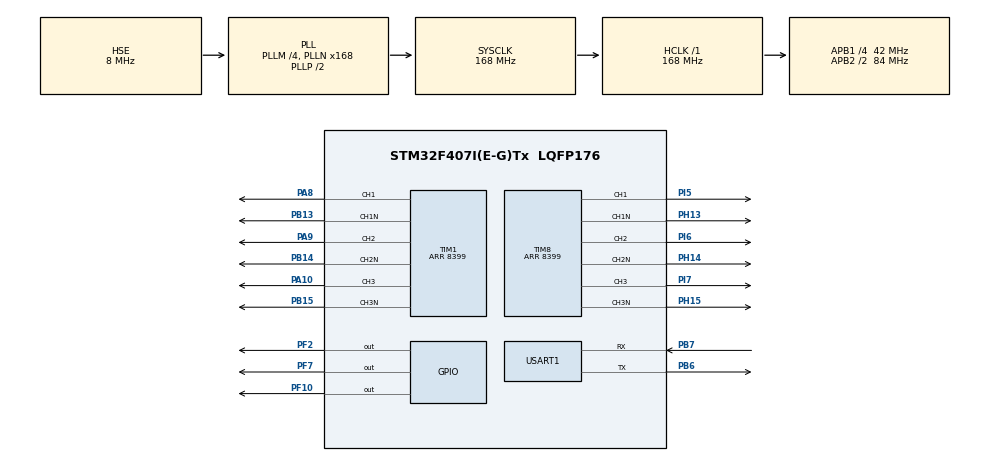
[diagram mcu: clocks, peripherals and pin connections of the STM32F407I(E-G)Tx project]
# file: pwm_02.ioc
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Mcu.Family=STM32F4
Mcu.Name=STM32F407I(E-G)Tx
Mcu.Package=LQFP176
NVIC.PriorityGroup=NVIC_PRIORITYGROUP_4
NVIC.TIM2_IRQn=true\:2\:0\:true\:false\:true\:true\:true\:true
PA10.Signal=S_TIM1_CH3
PA13.Mode=Serial_Wire
PA13.Signal=SYS_JTMS-SWDIO
PA14.Mode=Serial_Wire
PA14.Signal=SYS_JTCK-SWCLK
PA8.Signal=S_TIM1_CH1
PA9.Signal=S_TIM1_CH2
PB13.Mode=PWM Generation1 CH1 CH1N
PB13.Signal=TIM1_CH1N
PB14.Mode=PWM Generation2 CH2 CH2N
PB14.Signal=TIM1_CH2N
PB15.Mode=PWM Generation3 CH3 CH3N
PB15.Signal=TIM1_CH3N
PB6.Mode=Asynchronous
PB6.Signal=USART1_TX
PB7.Mode=Asynchronous
PB7.Signal=USART1_RX
PF10.Signal=GPIO_Output
PF2.Signal=GPIO_Output
PF7.Signal=GPIO_Output
PH0-OSC_IN.Mode=HSE-External-Oscillator
PH0-OSC_IN.Signal=RCC_OSC_IN
PH1-OSC_OUT.Mode=HSE-External-Oscillator
PH1-OSC_OUT.Signal=RCC_OSC_OUT
PH13.Mode=PWM Generation1 CH1 CH1N
PH13.Signal=TIM8_CH1N
PH14.Mode=PWM Generation2 CH2 CH2N
PH14.Signal=TIM8_CH2N
PH15.Mode=PWM Generation3 CH3 CH3N
PH15.Signal=TIM8_CH3N
PI5.Signal=S_TIM8_CH1
PI6.Signal=S_TIM8_CH2
PI7.Signal=S_TIM8_CH3
ProjectManager.HeapSize=0x200
ProjectManager.StackSize=0x400
ProjectManager.TargetToolchain=MDK-ARM V5.32
RCC.48MHZClocksFreq_Value=84000000
RCC.AHBFreq_Value=168000000
RCC.APB1CLKDivider=RCC_HCLK_DIV4
RCC.APB1Freq_Value=42000000
RCC.APB1TimFreq_Value=84000000
RCC.APB2CLKDivider=RCC_HCLK_DIV2
RCC.APB2Freq_Value=84000000
RCC.APB2TimFreq_Value=168000000
RCC.CortexFreq_Value=168000000
RCC.HCLKFreq_Value=168000000
RCC.HSE_VALUE=8000000
RCC.HSI_VALUE=16000000
RCC.LSE_VALUE=32768
RCC.PLLM=4
RCC.PLLN=168
RCC.PLLSourceVirtual=RCC_PLLSOURCE_HSE
RCC.SYSCLKFreq_VALUE=168000000
RCC.SYSCLKSource=RCC_SYSCLKSOURCE_PLLCLK
RCC.VCOOutputFreq_Value=336000000
SH.S_TIM1_CH1.0=TIM1_CH1,PWM Generation1 CH1 CH1N
SH.S_TIM1_CH2.0=TIM1_CH2,PWM Generation2 CH2 CH2N
SH.S_TIM1_CH3.0=TIM1_CH3,PWM Generation3 CH3 CH3N
SH.S_TIM8_CH1.0=TIM8_CH1,PWM Generation1 CH1 CH1N
SH.S_TIM8_CH2.0=TIM8_CH2,PWM Generation2 CH2 CH2N
SH.S_TIM8_CH3.0=TIM8_CH3,PWM Generation3 CH3 CH3N
TIM1.Channel-PWM\ Generation1\ CH1\ CH1N=TIM_CHANNEL_1
TIM1.Channel-PWM\ Generation2\ CH2\ CH2N=TIM_CHANNEL_2
TIM1.Channel-PWM\ Generation3\ CH3\ CH3N=TIM_CHANNEL_3
TIM1.CounterMode=TIM_COUNTERMODE_CENTERALIGNED1
TIM1.DeadTime=25
TIM1.OCMode_PWM-PWM\ Generation1\ CH1\ CH1N=TIM_OCMODE_PWM2
TIM1.OCMode_PWM-PWM\ Generation2\ CH2\ CH2N=TIM_OCMODE_PWM2
TIM1.OCMode_PWM-PWM\ Generation3\ CH3\ CH3N=TIM_OCMODE_PWM2
TIM1.Period=8399
TIM1.Pulse-PWM\ Generation1\ CH1\ CH1N=4200
TIM1.Pulse-PWM\ Generation2\ CH2\ CH2N=4200
TIM1.Pulse-PWM\ Generation3\ CH3\ CH3N=4200
TIM2.ClockDivision=TIM_CLOCKDIVISION_DIV1
TIM2.Period=83990
TIM8.Channel-PWM\ Generation1\ CH1\ CH1N=TIM_CHANNEL_1
TIM8.Channel-PWM\ Generation2\ CH2\ CH2N=TIM_CHANNEL_2
TIM8.Channel-PWM\ Generation3\ CH3\ CH3N=TIM_CHANNEL_3
TIM8.CounterMode=TIM_COUNTERMODE_CENTERALIGNED1
TIM8.DeadTime=25
TIM8.OCMode_PWM-PWM\ Generation1\ CH1\ CH1N=TIM_OCMODE_PWM2
TIM8.OCMode_PWM-PWM\ Generation2\ CH2\ CH2N=TIM_OCMODE_PWM2
TIM8.OCMode_PWM-PWM\ Generation3\ CH3\ CH3N=TIM_OCMODE_PWM2
TIM8.Period=8399
TIM8.Pulse-PWM\ Generation1\ CH1\ CH1N=4200
TIM8.Pulse-PWM\ Generation2\ CH2\ CH2N=4200
TIM8.Pulse-PWM\ Generation3\ CH3\ CH3N=4200
USART1.VirtualMode=VM_ASYNC
VP_TIM1_VS_ClockSourceINT.Mode=Internal
VP_TIM2_VS_ClockSourceINT.Mode=Internal
VP_TIM8_VS_ClockSourceINT.Mode=Internal
board=custom

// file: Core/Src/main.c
/* USER CODE BEGIN Header */
/**
  ******************************************************************************
  * @file           : main.c
  * @brief          : Main program body
  ******************************************************************************
  * @attention
  *
  * Copyright (c) 2023 STMicroelectronics.
  * All rights reserved.
  *
  * This software is licensed under terms that can be found in the LICENSE file
  * in the root directory of this software component.
  * If no LICENSE file comes with this software, it is provided AS-IS.
  *
  ******************************************************************************
  */
/* USER CODE END Header */
#include "main.h"
#include "tim.h"
#include "usart.h"
#include "gpio.h"

/* USER CODE BEGIN Includes */
#include "string.h"
#include "../SYSTEM/delay/delay.h"
#include "../BSP/EXTI/exti.h"
#include "../BSP/LED/led.h"
/* USER CODE END Includes */

/* USER CODE BEGIN PM */
  int fre = 0 ;
  int a0_amp =0;
  int a1_amp =0;
  int a2_amp =0;
/* USER CODE END PM */

/* USER CODE BEGIN PV */
  uint16_t spwmcnt=0;
  uint16_t spwmcnt2=133;
  uint16_t spwmcnt3=267;
  int spwm_group[400]={
    33,99,165,231,297,362,428,494,559,624,690,755,819,884,948,1013,1076,
    1140,1203,1266,1329,1392,1454,1515,1577,1638,1698,1758,1818,1877,1936,1994,2052,
    2110,2166,2223,2278,2333,2388,2442,2495,2548,2600,2652,2703,2753,2802,2851,2899,
    2946,2993,3039,3084,3129,3172,3215,3257,3298,3339,3378,3417,3455,3492,3528,3564,
    3598,3632,3664,3696,3727,3757,3786,3814,3841,3868,3893,3917,3940,3963,3984,4005,
    4024,4042,4060,4076,4092,4106,4119,4132,4143,4153,4163,4171,4178,4184,4190,4194,
    4197,4199,4200,4200,4199,4197,4194,4190,4184,4178,4171,4163,4153,4143,4132,4119,
    4106,4092,4076,4060,4042,4024,4005,3984,3963,3940,3917,3893,3868,3841,3814,3786,
    3757,3727,3696,3664,3632,3598,3564,3528,3492,3455,3417,3378,3339,3298,3257,3215,
    3172,3129,3084,3039,2993,2946,2899,2851,2802,2753,2703,2652,2600,2548,2495,2442,
    2388,2333,2278,2223,2166,2110,2052,1994,1936,1877,1818,1758,1698,1638,1577,1515,
    1454,1392,1329,1266,1203,1140,1076,1013,948,884,819,755,690,624,559,494,
    428,362,297,231,165,99,33,-33,-99,-165,-231,-297,-362,-428,-494,-559,
    -624,-690,-755,-819,-884,-948,-1013,-1076,-1140,-1203,-1266,-1329,-1392,-1454,-1515,-1577,
    -1638,-1698,-1758,-1818,-1877,-1936,-1994,-2052,-2110,-2166,-2223,-2278,-2333,-2388,-2442,-2495,
    -2548,-2600,-2652,-2703,-2753,-2802,-2851,-2899,-2946,-2993,-3039,-3084,-3129,-3172,-3215,-3257,
    -3298,-3339,-3378,-3417,-3455,-3492,-3528,-3564,-3598,-3632,-3664,-3696,-3727,-3757,-3786,-3814,
    -3841,-3868,-3893,-3917,-3940,-3963,-3984,-4005,-4024,-4042,-4060,-4076,-4092,-4106,-4119,-4132,
    -4143,-4153,-4163,-4171,-4178,-4184,-4190,-4194,-4197,-4199,-4200,-4200,-4199,-4197,-4194,-4190,
    -4184,-4178,-4171,-4163,-4153,-4143,-4132,-4119,-4106,-4092,-4076,-4060,-4042,-4024,-4005,-3984,
    -3963,-3940,-3917,-3893,-3868,-3841,-3814,-3786,-3757,-3727,-3696,-3664,-3632,-3598,-3564,-3528,
    -3492,-3455,-3417,-3378,-3339,-3298,-3257,-3215,-3172,-3129,-3084,-3039,-2993,-2946,-2899,-2851,
    -2802,-2753,-2703,-2652,-2600,-2548,-2495,-2442,-2388,-2333,-2278,-2223,-2166,-2110,-2052,-1994,
    -1936,-1877,-1818,-1758,-1698,-1638,-1577,-1515,-1454,-1392,-1329,-1266,-1203,-1140,-1076,-1013,
    -948,-884,-819,-755,-690,-624,-559,-494,-428,-362,-297,-231,-165,-99,-33,
  };
void HAL_TIM_PeriodElapsedCallback(TIM_HandleTypeDef *htim)  //中断回调函数 20k
{
    if(htim==&htim2)
    {
    TIM1->CCR1 = 4200.f + 0.02*a0_amp*spwm_group[spwmcnt];
    TIM1->CCR2 = 4200.f - 0.02*a0_amp*spwm_group[spwmcnt];

    TIM8->CCR1 = 4200.f + 0.02*a1_amp*spwm_group[spwmcnt2];
    TIM8->CCR2 = 4200.f - 0.02*a1_amp*spwm_group[spwmcnt2];

    TIM1->CCR3 = 4200.f + 0.02*a2_amp*spwm_group[spwmcnt3];
    TIM8->CCR3 = 4200.f - 0.02*a2_amp*spwm_group[spwmcnt3];
    spwmcnt++;
    spwmcnt2++;
    spwmcnt3++;
    if(spwmcnt==400)spwmcnt=0;
    if(spwmcnt2==400)spwmcnt2=0;
    if(spwmcnt3==400)spwmcnt3=0;
    }
}

/* USER CODE END PV */

void SystemClock_Config(void);

int main(void)
{

  /* MCU Configuration--------------------------------------------------------*/

  /* Reset of all peripherals, Initializes the Flash interface and the Systick. */
  HAL_Init();

  /* USER CODE BEGIN Init */

    char rx_buf[200];
    char* e_buf="error\r\n";
    int arr;
    char out[200];

  /* USER CODE END Init */

  /* Configure the system clock */
  SystemClock_Config();

  /* Initialize all configured peripherals */
  MX_GPIO_Init();
  MX_TIM1_Init();
  MX_TIM2_Init();
  MX_USART1_UART_Init();
  MX_TIM8_Init();
  /* USER CODE BEGIN 2 */
  /*
  HAL_TIM_Base_Start_IT(&htim2);//开启定时器2中断
  HAL_TIM_PWM_Start (&htim1,TIM_CHANNEL_1);//开启四路pwm波
  HAL_TIMEx_PWMN_Start (&htim1,TIM_CHANNEL_1);
  HAL_TIM_PWM_Start (&htim1,TIM_CHANNEL_2);
  HAL_TIMEx_PWMN_Start (&htim1,TIM_CHANNEL_2);*/
  //char* tr_buf = "fre\r\n";
  //HAL_UART_Transmit(&huart1,tr_buf,1,0);

  // HAL_UART_Transmit(&huart1, (uint8_t *)tr_buf,sizeof(tr_buf),0xFFFF);
 /*if(HAL_UART_Receive(&huart1, (uint8_t *)rx_buf,1,0xFFFF) == HAL_OK)
  {
      LED0_TOGGLE();
      HAL_UART_Transmit(&huart1, (uint8_t *)rx_buf,sizeof(rx_buf),0xFFFF);
  }
  */

  /* USER CODE END 2 */

  /* Infinite loop */
  while (1)
  {

    /* USER CODE BEGIN 3 */
      if(HAL_UART_Receive(&huart1, (uint8_t *)&rx_buf,sizeof("fre:00,a0:00,a1:00,a2:00\r\n")-1,0xFFFF) == HAL_OK)
    {
     int tens_digit = (int)(rx_buf[4] - '0');
     int ones_digit = (int)(rx_buf[5] - '0');
     fre = (tens_digit * 10) + ones_digit;

     int tens_digit_a0 = (int)(rx_buf[10] - '0');
     int ones_digit_a0 = (int)(rx_buf[11] - '0');
     a0_amp=(tens_digit_a0 * 10) + ones_digit_a0;

     int tens_digit_a1 = (int)(rx_buf[16] - '0');
     int ones_digit_a1 = (int)(rx_buf[17] - '0');
     a1_amp=(tens_digit_a1 * 10) + ones_digit_a1;

     int tens_digit_a2 = (int)(rx_buf[22] - '0');
     int ones_digit_a2 = (int)(rx_buf[23] - '0');
     a2_amp=(tens_digit_a2 * 10) + ones_digit_a2;

     //fre = (int)(rx_buf[5]-'0');
     if (fre == 0)
     {
     HAL_TIM_Base_Stop_IT(&htim2); //关闭定时器2
     HAL_TIM_PWM_Stop (&htim1,TIM_CHANNEL_1);
     HAL_TIMEx_PWMN_Stop (&htim1,TIM_CHANNEL_1);
     HAL_TIM_PWM_Stop (&htim1,TIM_CHANNEL_2);
     HAL_TIMEx_PWMN_Stop (&htim1,TIM_CHANNEL_2);

     HAL_TIM_PWM_Stop (&htim8,TIM_CHANNEL_1);
     HAL_TIMEx_PWMN_Stop (&htim8,TIM_CHANNEL_1);
     HAL_TIM_PWM_Stop (&htim8,TIM_CHANNEL_2);
     HAL_TIMEx_PWMN_Stop (&htim8,TIM_CHANNEL_2);

     HAL_TIM_PWM_Stop (&htim1,TIM_CHANNEL_3);
     HAL_TIMEx_PWMN_Stop (&htim1,TIM_CHANNEL_3);
     HAL_TIM_PWM_Stop (&htim8,TIM_CHANNEL_3);
     HAL_TIMEx_PWMN_Stop (&htim8,TIM_CHANNEL_3);
    break;
    }
     arr =168000000/(400*fre*0.5)-1;

     HAL_TIM_Base_Stop_IT(&htim2); //关闭定时器2
     HAL_TIM_PWM_Stop (&htim1,TIM_CHANNEL_1);
     HAL_TIMEx_PWMN_Stop (&htim1,TIM_CHANNEL_1);
     HAL_TIM_PWM_Stop (&htim1,TIM_CHANNEL_2);
     HAL_TIMEx_PWMN_Stop (&htim1,TIM_CHANNEL_2);
     HAL_TIM_PWM_Stop (&htim8,TIM_CHANNEL_1);
     HAL_TIMEx_PWMN_Stop (&htim8,TIM_CHANNEL_1);
     HAL_TIM_PWM_Stop (&htim8,TIM_CHANNEL_2);
     HAL_TIMEx_PWMN_Stop (&htim8,TIM_CHANNEL_2);
     HAL_TIM_PWM_Stop (&htim1,TIM_CHANNEL_3);
     HAL_TIMEx_PWMN_Stop (&htim1,TIM_CHANNEL_3);
     HAL_TIM_PWM_Stop (&htim8,TIM_CHANNEL_3);
     HAL_TIMEx_PWMN_Stop (&htim8,TIM_CHANNEL_3);

     TIM2->ARR=arr;

     HAL_TIM_Base_Start_IT(&htim2);//开启定时器2中断
     HAL_TIM_PWM_Start (&htim1,TIM_CHANNEL_1);//开启四路pwm波
     HAL_TIMEx_PWMN_Start (&htim1,TIM_CHANNEL_1);
     HAL_TIM_PWM_Start (&htim1,TIM_CHANNEL_2);
     HAL_TIMEx_PWMN_Start (&htim1,TIM_CHANNEL_2);

     HAL_TIM_PWM_Start (&htim8,TIM_CHANNEL_1);//开启四路pwm波
     HAL_TIMEx_PWMN_Start (&htim8,TIM_CHANNEL_1);
     HAL_TIM_PWM_Start (&htim8,TIM_CHANNEL_2);
     HAL_TIMEx_PWMN_Start (&htim8,TIM_CHANNEL_2);

     HAL_TIM_PWM_Start (&htim1,TIM_CHANNEL_3);//开启四路pwm波
     HAL_TIMEx_PWMN_Start (&htim1,TIM_CHANNEL_3);
     HAL_TIM_PWM_Start (&htim8,TIM_CHANNEL_3);
     HAL_TIMEx_PWMN_Start (&htim8,TIM_CHANNEL_3);

     out[0] = rx_buf[4];
     out[1] = rx_buf[5];
     out[2] = rx_buf[10];
     out[3] = rx_buf[11];
     out[4] = rx_buf[16];
     out[5] = rx_buf[17];
     out[6] = rx_buf[22];
     out[7] = rx_buf[23];

     HAL_UART_Transmit(&huart1,(uint8_t *)&out,sizeof(char)*8,0xFFFF);
     memset(rx_buf,0,sizeof("fre:00,a0:00,a1:00,a2:00\r\n")-1);
    }
    else
    {
     HAL_UART_Transmit(&huart1,(uint8_t *)e_buf,sizeof(e_buf),0xFFFF);
     HAL_TIM_Base_Stop_IT(&htim2); //关闭定时器2
     HAL_TIM_PWM_Stop (&htim1,TIM_CHANNEL_1);//开启四路pwm波
     HAL_TIMEx_PWMN_Stop (&htim1,TIM_CHANNEL_1);
     HAL_TIM_PWM_Stop (&htim1,TIM_CHANNEL_2);
     HAL_TIMEx_PWMN_Stop (&htim1,TIM_CHANNEL_2);
     HAL_TIM_PWM_Stop (&htim8,TIM_CHANNEL_1);//开启四路pwm波
     HAL_TIMEx_PWMN_Stop (&htim8,TIM_CHANNEL_1);
     HAL_TIM_PWM_Stop (&htim8,TIM_CHANNEL_2);
     HAL_TIMEx_PWMN_Stop (&htim8,TIM_CHANNEL_2);
     HAL_TIM_PWM_Stop (&htim1,TIM_CHANNEL_3);//开启四路pwm波
     HAL_TIMEx_PWMN_Stop (&htim1,TIM_CHANNEL_3);
     HAL_TIM_PWM_Stop (&htim8,TIM_CHANNEL_3);
     HAL_TIMEx_PWMN_Stop (&htim8,TIM_CHANNEL_3);
     memset(rx_buf,0,sizeof("fre:00,a0:00,a1:00,a2:00\r\n")-1);
    }
  }
  /* USER CODE END 3 */
}

void SystemClock_Config(void)
{
  RCC_OscInitTypeDef RCC_OscInitStruct = {0};
  RCC_ClkInitTypeDef RCC_ClkInitStruct = {0};

  /** Configure the main internal regulator output voltage
  */
  __HAL_RCC_PWR_CLK_ENABLE();
  __HAL_PWR_VOLTAGESCALING_CONFIG(PWR_REGULATOR_VOLTAGE_SCALE1);

  /** Initializes the RCC Oscillators according to the specified parameters
  * in the RCC_OscInitTypeDef structure.
  */
  RCC_OscInitStruct.OscillatorType = RCC_OSCILLATORTYPE_HSE;
  RCC_OscInitStruct.HSEState = RCC_HSE_ON;
  RCC_OscInitStruct.PLL.PLLState = RCC_PLL_ON;
  RCC_OscInitStruct.PLL.PLLSource = RCC_PLLSOURCE_HSE;
  RCC_OscInitStruct.PLL.PLLM = 4;
  RCC_OscInitStruct.PLL.PLLN = 168;
  RCC_OscInitStruct.PLL.PLLP = RCC_PLLP_DIV2;
  RCC_OscInitStruct.PLL.PLLQ = 4;
  if (HAL_RCC_OscConfig(&RCC_OscInitStruct) != HAL_OK)
  {
    Error_Handler();
  }

  /** Initializes the CPU, AHB and APB buses clocks
  */
  RCC_ClkInitStruct.ClockType = RCC_CLOCKTYPE_HCLK|RCC_CLOCKTYPE_SYSCLK
                              |RCC_CLOCKTYPE_PCLK1|RCC_CLOCKTYPE_PCLK2;
  RCC_ClkInitStruct.SYSCLKSource = RCC_SYSCLKSOURCE_PLLCLK;
  RCC_ClkInitStruct.AHBCLKDivider = RCC_SYSCLK_DIV1;
  RCC_ClkInitStruct.APB1CLKDivider = RCC_HCLK_DIV4;
  RCC_ClkInitStruct.APB2CLKDivider = RCC_HCLK_DIV2;

  if (HAL_RCC_ClockConfig(&RCC_ClkInitStruct, FLASH_LATENCY_5) != HAL_OK)
  {
    Error_Handler();
  }
}

void Error_Handler(void)
{
  __disable_irq();
  while (1)
  {
  }
}
